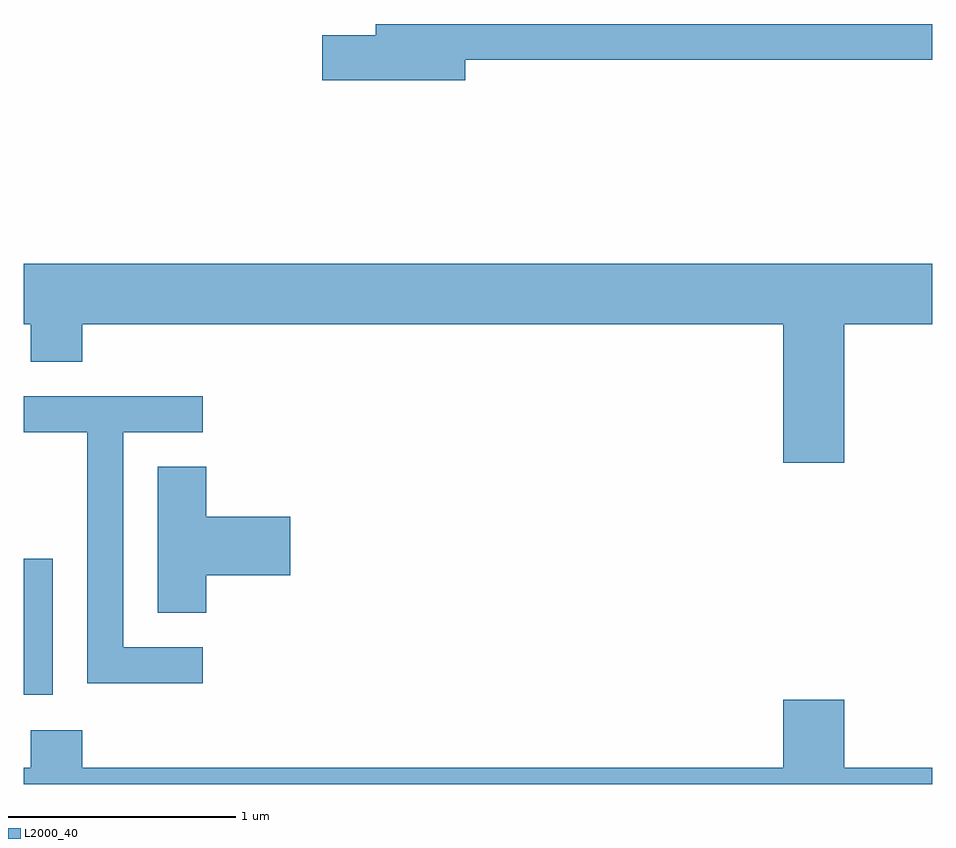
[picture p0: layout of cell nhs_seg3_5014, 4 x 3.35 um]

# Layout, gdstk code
import gdstk
lib = gdstk.Library(unit=1e-6, precision=1e-09)
def R(c, l, rs):  # rectangles x0, y0, x1, y1
    for r in rs: c.add(gdstk.rectangle(r[:2], r[2:], *l))
def P(c, l, *ps):  # polygons
    for p in ps: c.add(gdstk.Polygon(p, *l))
L2000_40 = (2000, 40)

nhs_seg3_5014 = lib.new_cell('nhs_seg3_5014')
R(nhs_seg3_5014, L2000_40, [(331.611,1224.286,331.739,1224.884)])
P(nhs_seg3_5014, L2000_40, [(333.554,1227.081),(335.611,1227.081),(335.611,1227.239),(333.161,1227.239),(333.161,1227.189),(332.926,1227.189),(332.926,1226.991),(333.554,1226.991)],
  [(335.224,1225.916),(335.611,1225.916),(335.611,1226.184),(331.611,1226.184),(331.611,1225.916),(331.641,1225.916),(331.641,1225.751),(331.869,1225.751),(331.869,1225.916),(334.956,1225.916),(334.956,1225.306),(335.224,1225.306)],
  [(332.398,1224.494),(332.049,1224.494),(332.049,1225.441),(332.398,1225.441),(332.398,1225.599),(331.611,1225.599),(331.611,1225.441),(331.891,1225.441),(331.891,1224.336),(332.398,1224.336)],
  [(332.414,1224.811),(332.784,1224.811),(332.784,1225.069),(332.414,1225.069),(332.414,1225.289),(332.201,1225.289),(332.201,1224.646),(332.414,1224.646)],
  [(335.611,1223.964),(335.224,1223.964),(335.224,1224.264),(334.956,1224.264),(334.956,1223.964),(331.869,1223.964),(331.869,1224.129),(331.641,1224.129),(331.641,1223.964),(331.611,1223.964),(331.611,1223.892),(335.611,1223.892)])

lib.write_gds('nhs_seg3_5014.gds')
